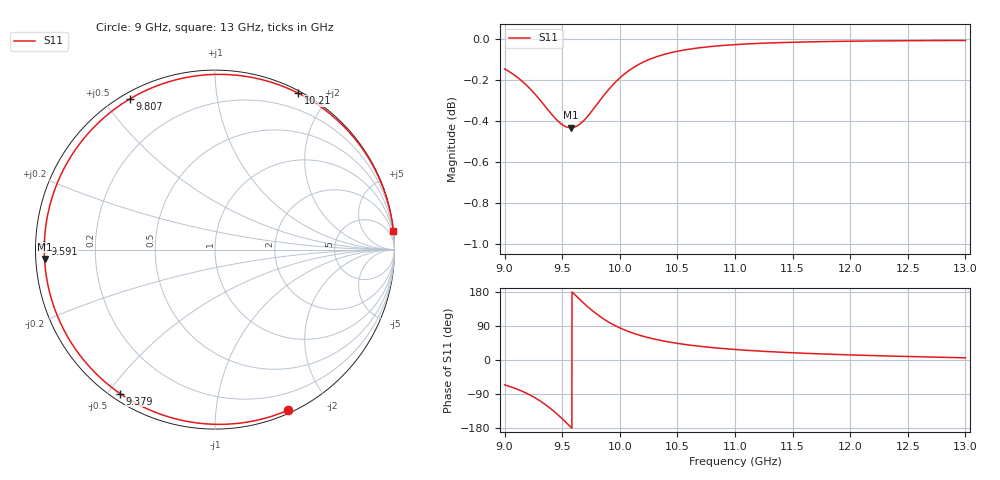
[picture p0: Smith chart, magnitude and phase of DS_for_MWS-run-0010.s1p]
! TOUCHSTONE file generated by CST DESIGN STUDIO
! Date and time: Tue Feb  4 13:33:52 2025
! Project name: C:\Work\MatlabApps\UnitCellOptimizationMatlab\CST\unitcell.cst
! Tree item: Tasks\Sweep1\SPara1\S-Parameters
! Header version: 2024
! Port assignment regex: !\s*Touchstone port\s*([0-9]+)\s*=\s*(CST MWS port|CST DES external port|CST DES block port)\s*(.+)\s* \(\"(.*)\"\)(\s*mode\s*([0-9]+))?.*
! Touchstone port assignment:
! Touchstone port 1 = CST DES external port 1 ("")
# GHz S MA R 50
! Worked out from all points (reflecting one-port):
!   4001 points, 9 GHz to 13 GHz, reference 50 ohm
!   lowest |S11| = -0.4 dB at 9.574 GHz (marker M1), VSWR 40.11, Z = 1.25 - j1.37 ohm
!   phase of S11 starts at -66 deg and turns -289 deg over the sweep
!   S11 on the Smith chart (normalised r, x): 9 GHz: 0.03, -1.55; 9.379 GHz: 0.03, -0.54; 9.591 GHz: 0.02, +0.02; 9.807 GHz: 0.02, +0.58; 10.21 GHz: 0.02, +1.66; 13 GHz: 0, +20
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9  0.9832 -65.5
9.045  0.9815 -69.9
9.113  0.9785 -77.5
9.229  0.9718 -93.8
9.309  0.9661 -108.2
9.379  0.9607 -123.3
9.439  0.9564 -138.2
9.5  0.953 -155.0
9.538  0.9518 -166.1
9.574  0.9514 -176.9
9.591  0.9514 178.0
9.646  0.953 161.7
9.707  0.9565 144.4
9.757  0.9602 131.3
9.807  0.9643 119.4
9.85  0.9678 110.2
9.895  0.9713 101.6
10  0.9782 84.8
10.1  0.9832 72.5
10.209  0.9871 62.1
10.343  0.9904 52.4
10.5  0.9929 43.9
10.721  0.9951 35.3
11  0.9967 27.8
11.5  0.998 19.1
12  0.9986 13.4
12.5  0.9988 9.2
13  0.999 5.8
